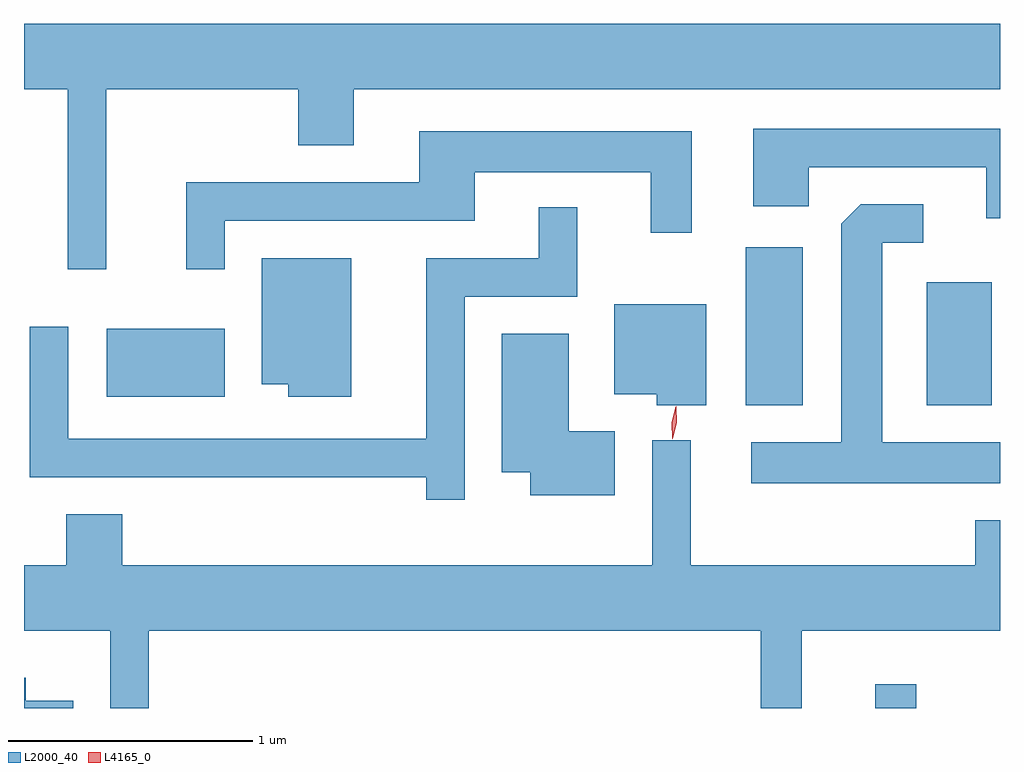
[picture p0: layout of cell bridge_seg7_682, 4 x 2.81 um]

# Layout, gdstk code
import gdstk
lib = gdstk.Library(unit=1e-6, precision=1e-09)
def R(c, l, rs):  # rectangles x0, y0, x1, y1
    for r in rs: c.add(gdstk.rectangle(r[:2], r[2:], *l))
def P(c, l, *ps):  # polygons
    for p in ps: c.add(gdstk.Polygon(p, *l))
L2000_40 = (2000, 40)
L4165_0 = (4165, 0)

bridge_seg7_682 = lib.new_cell('bridge_seg7_682')
R(bridge_seg7_682, L2000_40, [(963.961,1685.139,964.129,1685.238), (963.431,1686.381,963.664,1687.029), (964.171,1686.381,964.439,1686.884), (960.811,1686.416,961.294,1686.694)])
P(bridge_seg7_682, L2000_40, [(960.809,1687.676),(961.596,1687.676),(961.596,1687.446),(961.824,1687.446),(961.824,1687.676),(964.472,1687.676),(964.472,1687.944),(960.472,1687.944),(960.472,1687.676),(960.651,1687.676),(960.651,1686.938),(960.809,1686.938)],
  [(964.472,1687.514),(963.461,1687.514),(963.461,1687.196),(963.689,1687.196),(963.689,1687.356),(964.416,1687.356),(964.416,1687.148),(964.472,1687.148)],
  [(961.294,1687.136),(962.319,1687.136),(962.319,1687.336),(963.041,1687.336),(963.041,1687.088),(963.209,1687.088),(963.209,1687.504),(962.091,1687.504),(962.091,1687.294),(961.136,1687.294),(961.136,1686.938),(961.294,1686.938)],
  [(964.472,1686.229),(963.989,1686.229),(963.989,1687.046),(964.158,1687.046),(964.158,1687.204),(963.902,1687.204),(963.821,1687.124),(963.821,1686.229),(963.453,1686.229),(963.453,1686.061),(964.472,1686.061)],
  [(962.279,1686.826),(962.739,1686.826),(962.739,1687.193),(962.581,1687.193),(962.581,1686.984),(962.121,1686.984),(962.121,1686.244),(960.654,1686.244),(960.654,1686.703),(960.496,1686.703),(960.496,1686.086),(962.121,1686.086),(962.121,1685.993),(962.279,1685.993)],
  [(961.814,1686.984),(961.446,1686.984),(961.446,1686.466),(961.556,1686.466),(961.556,1686.416),(961.814,1686.416)],
  [(963.269,1686.794),(962.891,1686.794),(962.891,1686.426),(963.066,1686.426),(963.066,1686.381),(963.269,1686.381)],
  [(962.894,1686.274),(962.704,1686.274),(962.704,1686.674),(962.431,1686.674),(962.431,1686.106),(962.546,1686.106),(962.546,1686.011),(962.894,1686.011)],
  [(960.984,1685.456),(963.491,1685.456),(963.491,1685.139),(963.659,1685.139),(963.659,1685.456),(964.472,1685.456),(964.472,1685.909),(964.371,1685.909),(964.371,1685.724),(963.204,1685.724),(963.204,1686.238),(963.046,1686.238),(963.046,1685.724),(960.874,1685.724),(960.874,1685.934),(960.646,1685.934),(960.646,1685.724),(960.472,1685.724),(960.472,1685.456),(960.826,1685.456),(960.826,1685.139),(960.984,1685.139)],
  [(960.674,1685.169),(960.479,1685.169),(960.479,1685.264),(960.472,1685.264),(960.472,1685.139),(960.674,1685.139)])
P(bridge_seg7_682, L4165_0, [(963.129,1686.243),(963.129,1686.243),(963.127,1686.31),(963.144,1686.375),(963.145,1686.376),(963.145,1686.375),(963.147,1686.308),(963.13,1686.243)])

lib.write_gds('bridge_seg7_682.gds')
